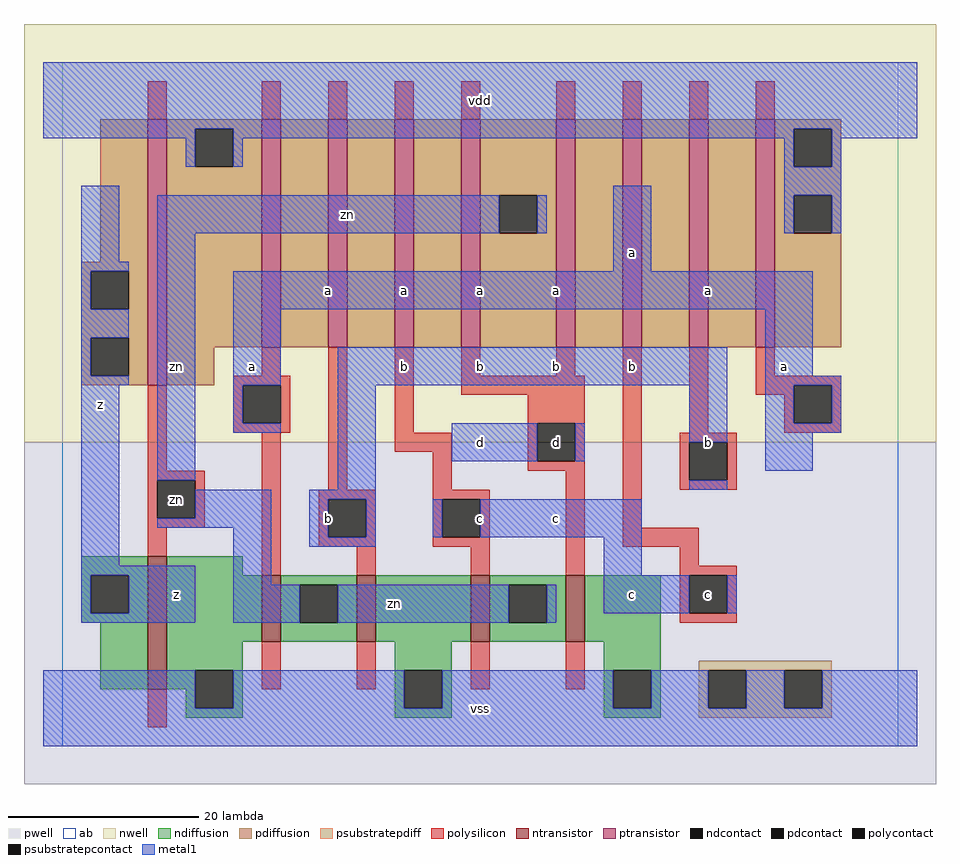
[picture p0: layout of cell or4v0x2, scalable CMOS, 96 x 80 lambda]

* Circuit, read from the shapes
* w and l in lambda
.subckt or4v0x2 a b c d vdd vss z zn
M1 vss zn z vss nfet w=14 l=2
M2 zn a vss vss nfet w=7 l=2
M3 vss b zn vss nfet w=7 l=2
M4 zn c vss vss nfet w=7 l=2
M5 vss d zn vss nfet w=7 l=2
M6 vdd zn z n1 pfet w=28 l=2
M7 n2 a vdd n1 pfet w=24 l=2
M8 n3 b n2 n1 pfet w=24 l=2
M9 n4 c n3 n1 pfet w=24 l=2
M10 zn d n4 n1 pfet w=24 l=2
M11 n5 d zn n1 pfet w=24 l=2
M12 n6 c n5 n1 pfet w=24 l=2
M13 n7 b n6 n1 pfet w=24 l=2
M14 vdd a n7 n1 pfet w=24 l=2
.ends

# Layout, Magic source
magic
tech scmos
<< ab >>
rect 0 0 88 72
<< pwell >>
rect -4 -4 92 32
<< nwell >>
rect -4 32 92 76
<< polysilicon >>
rect 9 66 11 70
rect 21 66 23 70
rect 28 66 30 70
rect 35 66 37 70
rect 42 66 44 70
rect 52 66 54 70
rect 59 66 61 70
rect 66 66 68 70
rect 73 66 75 70
rect 21 39 23 42
rect 18 38 24 39
rect 9 29 11 38
rect 18 34 19 38
rect 23 34 24 38
rect 18 33 24 34
rect 9 28 15 29
rect 9 24 10 28
rect 14 24 15 28
rect 9 23 15 24
rect 9 20 11 23
rect 21 18 23 33
rect 28 27 30 42
rect 35 33 37 42
rect 42 39 44 42
rect 52 39 54 42
rect 42 37 55 39
rect 49 34 55 37
rect 35 31 41 33
rect 39 27 41 31
rect 49 30 50 34
rect 54 30 55 34
rect 49 29 55 30
rect 27 26 33 27
rect 27 22 28 26
rect 32 22 33 26
rect 27 21 33 22
rect 39 26 45 27
rect 39 22 40 26
rect 44 22 45 26
rect 39 21 45 22
rect 31 18 33 21
rect 43 18 45 21
rect 53 18 55 29
rect 59 23 61 42
rect 66 33 68 42
rect 73 39 75 42
rect 73 38 82 39
rect 73 37 77 38
rect 76 34 77 37
rect 81 34 82 38
rect 76 33 82 34
rect 65 32 71 33
rect 65 28 66 32
rect 70 28 71 32
rect 65 27 71 28
rect 59 21 67 23
rect 65 19 67 21
rect 65 18 71 19
rect 65 14 66 18
rect 70 14 71 18
rect 65 13 71 14
rect 9 2 11 6
rect 21 6 23 11
rect 31 6 33 11
rect 43 6 45 11
rect 53 6 55 11
<< ndiffusion >>
rect 2 18 9 20
rect 2 14 3 18
rect 7 14 9 18
rect 2 13 9 14
rect 4 6 9 13
rect 11 18 19 20
rect 11 11 21 18
rect 23 17 31 18
rect 23 13 25 17
rect 29 13 31 17
rect 23 11 31 13
rect 33 11 43 18
rect 45 17 53 18
rect 45 13 47 17
rect 51 13 53 17
rect 45 11 53 13
rect 55 11 63 18
rect 11 8 19 11
rect 11 6 14 8
rect 13 4 14 6
rect 18 4 19 8
rect 35 8 41 11
rect 13 3 19 4
rect 35 4 36 8
rect 40 4 41 8
rect 57 8 63 11
rect 35 3 41 4
rect 57 4 58 8
rect 62 4 63 8
rect 57 3 63 4
<< pdiffusion >>
rect 4 51 9 66
rect 2 50 9 51
rect 2 46 3 50
rect 7 46 9 50
rect 2 43 9 46
rect 2 39 3 43
rect 7 39 9 43
rect 2 38 9 39
rect 11 65 21 66
rect 11 61 14 65
rect 18 61 21 65
rect 11 42 21 61
rect 23 42 28 66
rect 30 42 35 66
rect 37 42 42 66
rect 44 58 52 66
rect 44 54 46 58
rect 50 54 52 58
rect 44 42 52 54
rect 54 42 59 66
rect 61 42 66 66
rect 68 42 73 66
rect 75 65 82 66
rect 75 61 77 65
rect 81 61 82 65
rect 75 58 82 61
rect 75 54 77 58
rect 81 54 82 58
rect 75 42 82 54
rect 11 38 16 42
<< metal1 >>
rect -2 65 90 72
rect -2 64 14 65
rect 13 61 14 64
rect 18 64 77 65
rect 18 61 19 64
rect 76 61 77 64
rect 81 64 90 65
rect 81 61 82 64
rect 2 51 6 59
rect 10 54 46 58
rect 50 54 51 58
rect 2 50 7 51
rect 2 46 3 50
rect 2 43 7 46
rect 2 39 3 43
rect 2 38 7 39
rect 2 19 6 38
rect 10 28 14 54
rect 58 50 62 59
rect 76 58 82 61
rect 76 54 77 58
rect 81 54 82 58
rect 18 46 79 50
rect 18 38 23 46
rect 18 34 19 38
rect 18 33 23 34
rect 29 38 70 42
rect 29 27 33 38
rect 41 30 50 34
rect 54 30 55 34
rect 66 32 70 38
rect 74 39 79 46
rect 74 38 82 39
rect 74 34 77 38
rect 81 34 82 38
rect 74 33 82 34
rect 74 29 79 33
rect 66 27 70 28
rect 14 24 22 27
rect 10 23 22 24
rect 2 18 14 19
rect 2 14 3 18
rect 7 14 14 18
rect 2 13 14 14
rect 18 17 22 23
rect 26 26 33 27
rect 26 22 28 26
rect 32 22 33 26
rect 39 22 40 26
rect 44 22 61 26
rect 26 21 33 22
rect 57 18 61 22
rect 18 13 25 17
rect 29 13 47 17
rect 51 13 52 17
rect 57 14 66 18
rect 70 14 71 18
rect -2 4 14 8
rect 18 4 36 8
rect 40 4 58 8
rect 62 4 68 8
rect 72 4 76 8
rect 80 4 90 8
rect -2 0 90 4
<< ntransistor >>
rect 9 6 11 20
rect 21 11 23 18
rect 31 11 33 18
rect 43 11 45 18
rect 53 11 55 18
<< ptransistor >>
rect 9 38 11 66
rect 21 42 23 66
rect 28 42 30 66
rect 35 42 37 66
rect 42 42 44 66
rect 52 42 54 66
rect 59 42 61 66
rect 66 42 68 66
rect 73 42 75 66
<< polycontact >>
rect 19 34 23 38
rect 10 24 14 28
rect 50 30 54 34
rect 28 22 32 26
rect 40 22 44 26
rect 77 34 81 38
rect 66 28 70 32
rect 66 14 70 18
<< ndcontact >>
rect 3 14 7 18
rect 25 13 29 17
rect 47 13 51 17
rect 14 4 18 8
rect 36 4 40 8
rect 58 4 62 8
<< pdcontact >>
rect 3 46 7 50
rect 3 39 7 43
rect 14 61 18 65
rect 46 54 50 58
rect 77 61 81 65
rect 77 54 81 58
<< psubstratepcontact >>
rect 68 4 72 8
rect 76 4 80 8
<< psubstratepdiff >>
rect 67 8 81 9
rect 67 4 68 8
rect 72 4 76 8
rect 80 4 81 8
rect 67 3 81 4
<< labels >>
rlabel polycontact 12 26 12 26 6 zn
rlabel metal1 12 16 12 16 6 z
rlabel metal1 4 36 4 36 6 z
rlabel metal1 12 40 12 40 6 zn
rlabel metal1 28 24 28 24 6 b
rlabel metal1 20 40 20 40 6 a
rlabel metal1 28 48 28 48 6 a
rlabel metal1 44 4 44 4 6 vss
rlabel metal1 35 15 35 15 6 zn
rlabel metal1 44 24 44 24 6 c
rlabel metal1 44 32 44 32 6 d
rlabel metal1 36 40 36 40 6 b
rlabel metal1 44 40 44 40 6 b
rlabel metal1 36 48 36 48 6 a
rlabel metal1 44 48 44 48 6 a
rlabel metal1 30 56 30 56 6 zn
rlabel metal1 44 68 44 68 6 vdd
rlabel metal1 60 16 60 16 6 c
rlabel polycontact 68 16 68 16 6 c
rlabel metal1 52 24 52 24 6 c
rlabel metal1 68 32 68 32 6 b
rlabel polycontact 52 32 52 32 6 d
rlabel metal1 52 40 52 40 6 b
rlabel metal1 60 40 60 40 6 b
rlabel metal1 52 48 52 48 6 a
rlabel metal1 60 52 60 52 6 a
rlabel metal1 68 48 68 48 6 a
rlabel metal1 76 40 76 40 6 a
<< end >>
